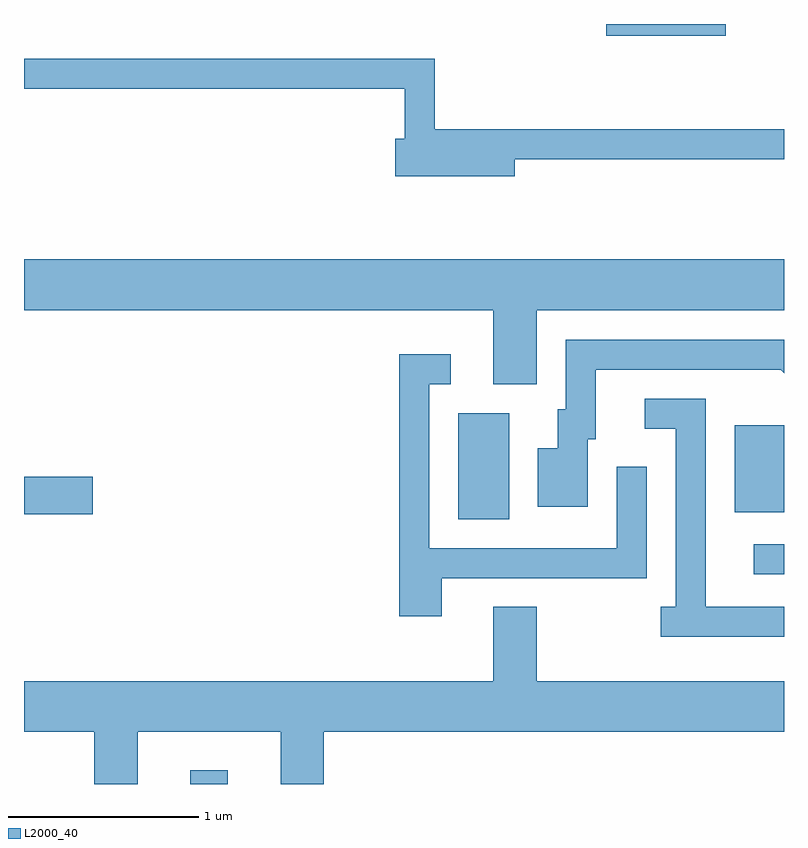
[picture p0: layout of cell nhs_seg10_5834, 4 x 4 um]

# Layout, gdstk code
import gdstk
lib = gdstk.Library(unit=1e-6, precision=1e-09)
def R(c, l, rs):  # rectangles x0, y0, x1, y1
    for r in rs: c.add(gdstk.rectangle(r[:2], r[2:], *l))
def P(c, l, *ps):  # polygons
    for p in ps: c.add(gdstk.Polygon(p, *l))
L2000_40 = (2000, 40)

nhs_seg10_5834 = lib.new_cell('nhs_seg10_5834')
R(nhs_seg10_5834, L2000_40, [(358.486,2122.522,358.684,2122.594), (361.453,2123.626,361.611,2123.784), (359.896,2123.916,360.164,2124.474), (357.611,2123.941,357.974,2124.139), (361.351,2123.951,361.611,2124.409), (360.676,2126.461,361.304,2126.522)])
P(nhs_seg10_5834, L2000_40, [(360.194,2125.811),(361.611,2125.811),(361.611,2125.969),(359.774,2125.969),(359.774,2126.339),(357.611,2126.339),(357.611,2126.181),(359.616,2126.181),(359.616,2125.919),(359.566,2125.919),(359.566,2125.721),(360.194,2125.721)],
  [(360.309,2125.016),(361.611,2125.016),(361.611,2125.284),(357.611,2125.284),(357.611,2125.016),(360.081,2125.016),(360.081,2124.626),(360.309,2124.626)],
  [(360.579,2124.336),(360.619,2124.336),(360.619,2124.701),(361.594,2124.701),(361.611,2124.684),(361.611,2124.859),(360.461,2124.859),(360.461,2124.494),(360.421,2124.494),(360.421,2124.289),(360.316,2124.289),(360.316,2123.981),(360.579,2123.981)],
  [(359.809,2123.606),(360.889,2123.606),(360.889,2124.193),(360.731,2124.193),(360.731,2123.764),(359.744,2123.764),(359.744,2124.626),(359.858,2124.626),(359.858,2124.784),(359.586,2124.784),(359.586,2123.406),(359.809,2123.406)],
  [(361.611,2123.454),(361.199,2123.454),(361.199,2124.549),(360.878,2124.549),(360.878,2124.391),(361.041,2124.391),(361.041,2123.454),(360.963,2123.454),(360.963,2123.296),(361.611,2123.296)],
  [(358.209,2122.796),(358.961,2122.796),(358.961,2122.522),(359.189,2122.522),(359.189,2122.796),(361.611,2122.796),(361.611,2123.064),(360.309,2123.064),(360.309,2123.454),(360.081,2123.454),(360.081,2123.064),(357.611,2123.064),(357.611,2122.796),(357.981,2122.796),(357.981,2122.522),(358.209,2122.522)])

lib.write_gds('nhs_seg10_5834.gds')
